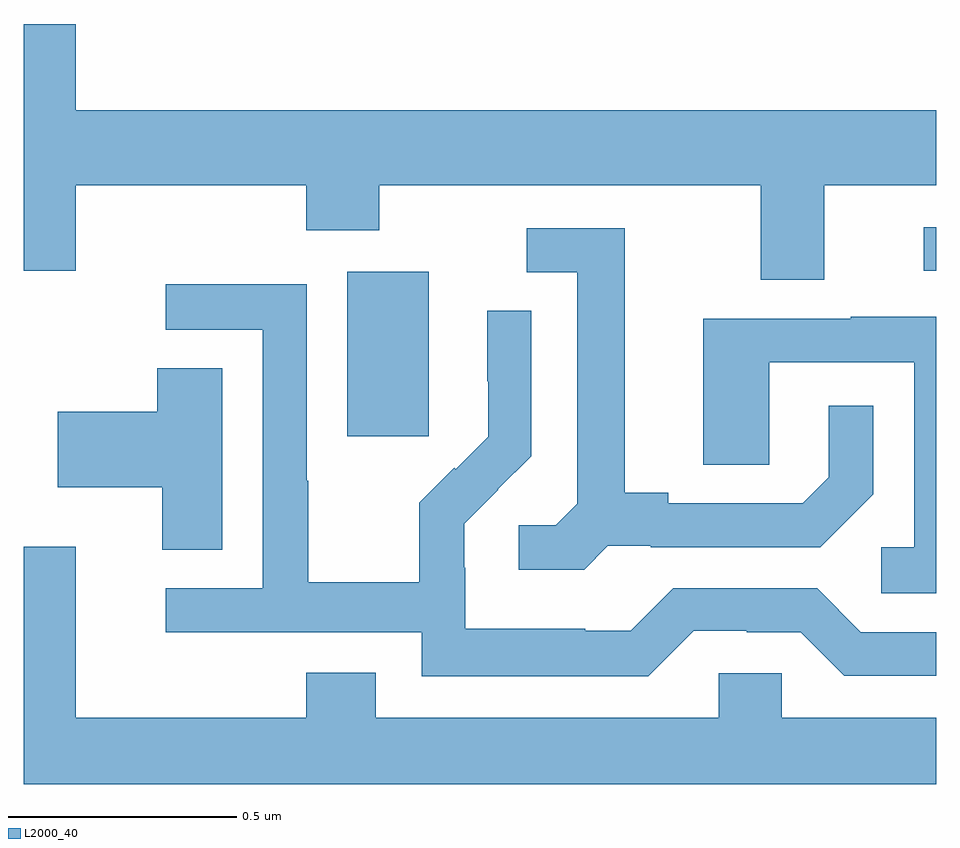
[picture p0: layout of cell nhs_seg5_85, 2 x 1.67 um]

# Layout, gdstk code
import gdstk
lib = gdstk.Library(unit=1e-6, precision=1e-09)
def R(c, l, rs):  # rectangles x0, y0, x1, y1
    for r in rs: c.add(gdstk.rectangle(r[:2], r[2:], *l))
def P(c, l, *ps):  # polygons
    for p in ps: c.add(gdstk.Polygon(p, *l))
L2000_40 = (2000, 40)

nhs_seg5_85 = lib.new_cell('nhs_seg5_85')
R(nhs_seg5_85, L2000_40, [(112.709,837.561,112.888,837.922), (113.973,837.924,114,838.02)])
P(nhs_seg5_85, L2000_40, [(113.755,838.112),(114,838.112),(114,838.276),(112.114,838.276),(112.114,838.465),(112,838.465),(112,837.924),(112.114,837.924),(112.114,838.112),(112.619,838.112),(112.619,838.013),(112.779,838.013),(112.779,838.112),(113.615,838.112),(113.615,837.904),(113.755,837.904)],
  [(113.28,837.321),(113.374,837.321),(113.374,837.318),(113.746,837.318),(113.862,837.434),(113.862,837.628),(113.765,837.628),(113.765,837.471),(113.708,837.414),(113.413,837.414),(113.413,837.437),(113.317,837.437),(113.317,838.017),(113.103,838.017),(113.103,837.921),(113.213,837.921),(113.213,837.413),(113.166,837.366),(113.085,837.366),(113.085,837.269),(113.228,837.269)],
  [(113.469,837.135),(113.585,837.135),(113.585,837.132),(113.703,837.132),(113.799,837.036),(114,837.036),(114,837.132),(113.835,837.132),(113.739,837.228),(113.424,837.228),(113.331,837.135),(113.231,837.135),(113.231,837.139),(112.968,837.139),(112.968,837.273),(112.966,837.273),(112.966,837.37),(113.04,837.444),(113.039,837.445),(113.112,837.518),(113.112,837.836),(113.016,837.836),(113.016,837.682),(113.018,837.682),(113.018,837.56),(112.947,837.489),(112.944,837.492),(112.867,837.415),(112.867,837.241),(112.623,837.241),(112.623,837.464),(112.62,837.464),(112.62,837.894),(112.311,837.894),(112.311,837.795),(112.524,837.795),(112.524,837.228),(112.311,837.228),(112.311,837.132),(112.872,837.132),(112.872,837.035),(113.369,837.035)],
  [(114,837.823),(113.813,837.823),(113.813,837.819),(113.489,837.819),(113.489,837.499),(113.634,837.499),(113.634,837.723),(113.952,837.723),(113.952,837.318),(113.88,837.318),(113.88,837.217),(114,837.217)],
  [(112.435,837.71),(112.292,837.71),(112.292,837.615),(112.074,837.615),(112.074,837.449),(112.304,837.449),(112.304,837.313),(112.435,837.313)],
  [(114,836.944),(113.661,836.944),(113.661,837.042),(113.523,837.042),(113.523,836.944),(112.771,836.944),(112.771,837.043),(112.619,837.043),(112.619,836.944),(112.114,836.944),(112.114,837.319),(112,837.319),(112,836.799),(114,836.799)])

lib.write_gds('nhs_seg5_85.gds')
